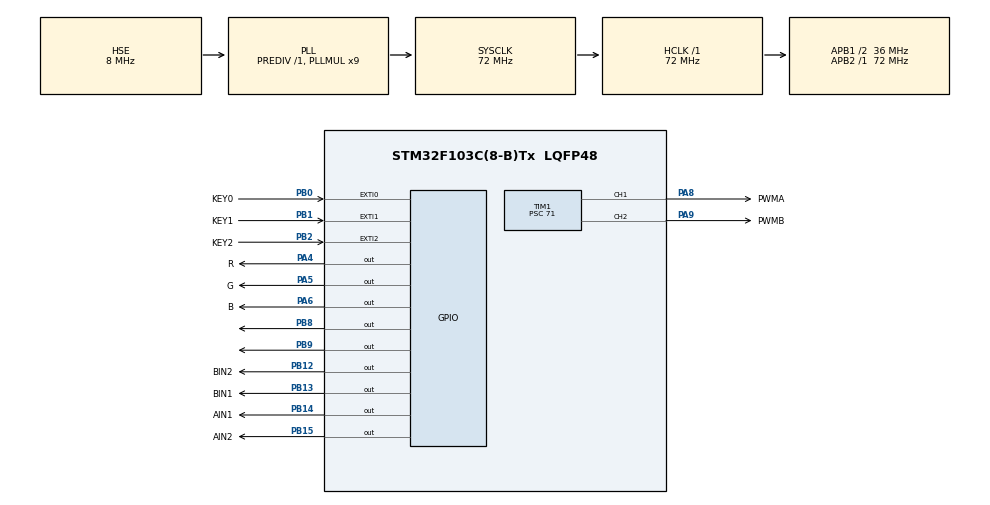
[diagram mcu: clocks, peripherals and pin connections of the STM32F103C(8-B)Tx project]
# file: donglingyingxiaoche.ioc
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FREERTOS.BinarySemaphores01=BinarySem_Start,Dynamic,NULL,Available;BinarySem_Stop,Dynamic,NULL,Available;BinarySem_EStop,Dynamic,NULL,Available
FREERTOS.Tasks01=Task_Drive,40,128,StartTaskDrive,Default,NULL,Dynamic,NULL,NULL;Task_Display,24,256,StartTaskDisplay,Default,NULL,Dynamic,NULL,NULL;Task_Logic,32,128,StartTaskLogic,Default,NULL,Dynamic,NULL,NULL;Task_Dog,8,128,StartTaskDog,Default,NULL,Dynamic,NULL,NULL
FREERTOS.configTOTAL_HEAP_SIZE=8000
IWDG.Prescaler=IWDG_PRESCALER_64
IWDG.Reload=2500
Mcu.Family=STM32F1
Mcu.Name=STM32F103C(8-B)Tx
Mcu.Package=LQFP48
NVIC.EXTI0_IRQn=true\:6\:0\:true\:false\:true\:true\:true\:true\:true
NVIC.EXTI1_IRQn=true\:7\:0\:true\:false\:true\:true\:true\:true\:true
NVIC.EXTI2_IRQn=true\:8\:0\:true\:false\:true\:true\:true\:true\:true
NVIC.PriorityGroup=NVIC_PRIORITYGROUP_4
NVIC.TIM2_IRQn=true\:15\:0\:false\:false\:true\:false\:false\:true\:true
NVIC.TimeBase=TIM2_IRQn
NVIC.TimeBaseIP=TIM2
PA13.Mode=Serial_Wire
PA13.Signal=SYS_JTMS-SWDIO
PA14.Mode=Serial_Wire
PA14.Signal=SYS_JTCK-SWCLK
PA4.GPIO_Label=R
PA4.PinState=GPIO_PIN_SET
PA4.Signal=GPIO_Output
PA5.GPIO_Label=G
PA5.PinState=GPIO_PIN_SET
PA5.Signal=GPIO_Output
PA6.GPIO_Label=B
PA6.PinState=GPIO_PIN_SET
PA6.Signal=GPIO_Output
PA8.GPIO_Label=PWMA
PA8.Signal=S_TIM1_CH1
PA9.GPIO_Label=PWMB
PA9.Signal=S_TIM1_CH2
PB0.GPIO_Label=KEY0
PB0.GPIO_ModeDefaultEXTI=GPIO_MODE_IT_FALLING
PB0.GPIO_PuPd=GPIO_PULLUP
PB0.Signal=GPXTI0
PB1.GPIO_Label=KEY1
PB1.GPIO_ModeDefaultEXTI=GPIO_MODE_IT_FALLING
PB1.GPIO_PuPd=GPIO_PULLUP
PB1.Signal=GPXTI1
PB12.GPIO_Label=BIN2
PB12.Signal=GPIO_Output
PB13.GPIO_Label=BIN1
PB13.Signal=GPIO_Output
PB14.GPIO_Label=AIN1
PB14.Signal=GPIO_Output
PB15.GPIO_Label=AIN2
PB15.Signal=GPIO_Output
PB2.GPIO_Label=KEY2
PB2.GPIO_ModeDefaultEXTI=GPIO_MODE_IT_FALLING
PB2.GPIO_PuPd=GPIO_PULLUP
PB2.Signal=GPXTI2
PB8.Signal=GPIO_Output
PB9.Signal=GPIO_Output
PD0-OSC_IN.Mode=HSE-External-Oscillator
PD0-OSC_IN.Signal=RCC_OSC_IN
PD1-OSC_OUT.Mode=HSE-External-Oscillator
PD1-OSC_OUT.Signal=RCC_OSC_OUT
ProjectManager.HeapSize=0x200
ProjectManager.StackSize=0x400
ProjectManager.TargetToolchain=STM32CubeIDE
RCC.AHBFreq_Value=72000000
RCC.APB1CLKDivider=RCC_HCLK_DIV2
RCC.APB1Freq_Value=36000000
RCC.APB1TimFreq_Value=72000000
RCC.APB2Freq_Value=72000000
RCC.APB2TimFreq_Value=72000000
RCC.HCLKFreq_Value=72000000
RCC.PLLMUL=RCC_PLL_MUL9
RCC.PLLSourceVirtual=RCC_PLLSOURCE_HSE
RCC.SYSCLKFreq_VALUE=72000000
RCC.SYSCLKSource=RCC_SYSCLKSOURCE_PLLCLK
RCC.USBFreq_Value=72000000
SH.S_TIM1_CH1.0=TIM1_CH1,PWM Generation1 CH1
SH.S_TIM1_CH2.0=TIM1_CH2,PWM Generation2 CH2
TIM1.Channel-PWM\ Generation1\ CH1=TIM_CHANNEL_1
TIM1.Channel-PWM\ Generation2\ CH2=TIM_CHANNEL_2
TIM1.Period=999
TIM1.Prescaler=71
TIM4.Prescaler=71
VP_FREERTOS_VS_CMSIS_V2.Mode=CMSIS_V2
VP_IWDG_VS_IWDG.Mode=IWDG_Activate
VP_SYS_VS_tim2.Mode=TIM2
VP_TIM4_VS_ClockSourceINT.Mode=Internal
board=custom

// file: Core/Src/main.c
/* USER CODE BEGIN Header */
/**
  ******************************************************************************
  * @file           : main.c
  * @brief          : Main program body
  ******************************************************************************
  * @attention
  *
  * Copyright (c) 2026 STMicroelectronics.
  * All rights reserved.
  *
  * This software is licensed under terms that can be found in the LICENSE file
  * in the root directory of this software component.
  * If no LICENSE file comes with this software, it is provided AS-IS.
  *
  ******************************************************************************
  */
/* USER CODE END Header */
#include "main.h"
#include "cmsis_os.h"
#include "iwdg.h"
#include "tim.h"
#include "gpio.h"

/* USER CODE BEGIN PV */
extern osSemaphoreId_t BinarySem_StartHandle;
extern osSemaphoreId_t BinarySem_StopHandle;
extern osSemaphoreId_t BinarySem_EStopHandle;
/* USER CODE END PV */

void SystemClock_Config(void);
void MX_FREERTOS_Init(void);

int main(void)
{

  /* MCU Configuration--------------------------------------------------------*/

  /* Reset of all peripherals, Initializes the Flash interface and the Systick. */
  HAL_Init();

  /* Configure the system clock */
  SystemClock_Config();

  /* Initialize all configured peripherals */
  MX_GPIO_Init();
  MX_IWDG_Init();
  MX_TIM1_Init();
  MX_TIM4_Init();

  /* Init scheduler */
  osKernelInitialize();  /* Call init function for freertos objects (in cmsis_os2.c) */
  MX_FREERTOS_Init();

  /* Start scheduler */
  osKernelStart();

  /* We should never get here as control is now taken by the scheduler */

  /* Infinite loop */
  while (1)
  {

  }
}

void SystemClock_Config(void)
{
  RCC_OscInitTypeDef RCC_OscInitStruct = {0};
  RCC_ClkInitTypeDef RCC_ClkInitStruct = {0};

  /** Initializes the RCC Oscillators according to the specified parameters
  * in the RCC_OscInitTypeDef structure.
  */
  RCC_OscInitStruct.OscillatorType = RCC_OSCILLATORTYPE_LSI|RCC_OSCILLATORTYPE_HSE;
  RCC_OscInitStruct.HSEState = RCC_HSE_ON;
  RCC_OscInitStruct.HSEPredivValue = RCC_HSE_PREDIV_DIV1;
  RCC_OscInitStruct.HSIState = RCC_HSI_ON;
  RCC_OscInitStruct.LSIState = RCC_LSI_ON;
  RCC_OscInitStruct.PLL.PLLState = RCC_PLL_ON;
  RCC_OscInitStruct.PLL.PLLSource = RCC_PLLSOURCE_HSE;
  RCC_OscInitStruct.PLL.PLLMUL = RCC_PLL_MUL9;
  if (HAL_RCC_OscConfig(&RCC_OscInitStruct) != HAL_OK)
  {
    Error_Handler();
  }

  /** Initializes the CPU, AHB and APB buses clocks
  */
  RCC_ClkInitStruct.ClockType = RCC_CLOCKTYPE_HCLK|RCC_CLOCKTYPE_SYSCLK
                              |RCC_CLOCKTYPE_PCLK1|RCC_CLOCKTYPE_PCLK2;
  RCC_ClkInitStruct.SYSCLKSource = RCC_SYSCLKSOURCE_PLLCLK;
  RCC_ClkInitStruct.AHBCLKDivider = RCC_SYSCLK_DIV1;
  RCC_ClkInitStruct.APB1CLKDivider = RCC_HCLK_DIV2;
  RCC_ClkInitStruct.APB2CLKDivider = RCC_HCLK_DIV1;

  if (HAL_RCC_ClockConfig(&RCC_ClkInitStruct, FLASH_LATENCY_2) != HAL_OK)
  {
    Error_Handler();
  }
}

/* USER CODE BEGIN 4 */
void HAL_GPIO_EXTI_Callback(uint16_t GPIO_Pin)
{
    if (GPIO_Pin == KEY0_Pin)
    {
        osSemaphoreRelease(BinarySem_StartHandle);
    }
    else if (GPIO_Pin == KEY1_Pin)
    {
        osSemaphoreRelease(BinarySem_StopHandle);
    }
    else if (GPIO_Pin == KEY2_Pin)
    {
        osSemaphoreRelease(BinarySem_EStopHandle);
    }
}
/* USER CODE END 4 */

void HAL_TIM_PeriodElapsedCallback(TIM_HandleTypeDef *htim)
{
  if (htim->Instance == TIM2)
  {
    HAL_IncTick();
  }
}

void Error_Handler(void)
{
  __disable_irq();
  while (1)
  {
  }
}

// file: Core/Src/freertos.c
/* USER CODE BEGIN Header */
/**
  ******************************************************************************
  * File Name          : freertos.c
  * Description        : Code for freertos applications
  ******************************************************************************
  * @attention
  *
  * Copyright (c) 2026 STMicroelectronics.
  * All rights reserved.
  *
  * This software is licensed under terms that can be found in the LICENSE file
  * in the root directory of this software component.
  * If no LICENSE file comes with this software, it is provided AS-IS.
  *
  ******************************************************************************
  */
/* USER CODE END Header */

#include "FreeRTOS.h"
#include "task.h"
#include "main.h"
#include "cmsis_os.h"

/* USER CODE BEGIN Includes */
#include"oled.h"
#include"led.h"
#include"oledfont.h"
#include"main.h"
#include"gpio.h"
#include"motor.h"
#include"iwdg.h"
/* USER CODE END Includes */

/* USER CODE BEGIN Variables */
typedef enum {
    STATE_IDLE = 0, // 待机/停止
    STATE_RUN,      // 运行
    STATE_ESTOP     // 急停锁死
} CarState_t;
volatile CarState_t g_CarState = STATE_IDLE;
/* USER CODE END Variables */
/* Definitions for Task_Drive */
osThreadId_t Task_DriveHandle;
const osThreadAttr_t Task_Drive_attributes = {
  .name = "Task_Drive",
  .stack_size = 128 * 4,
  .priority = (osPriority_t) osPriorityHigh,
};
/* Definitions for Task_Display */
osThreadId_t Task_DisplayHandle;
const osThreadAttr_t Task_Display_attributes = {
  .name = "Task_Display",
  .stack_size = 256 * 4,
  .priority = (osPriority_t) osPriorityNormal,
};
/* Definitions for Task_Logic */
osThreadId_t Task_LogicHandle;
const osThreadAttr_t Task_Logic_attributes = {
  .name = "Task_Logic",
  .stack_size = 128 * 4,
  .priority = (osPriority_t) osPriorityAboveNormal,
};
/* Definitions for Task_Dog */
osThreadId_t Task_DogHandle;
const osThreadAttr_t Task_Dog_attributes = {
  .name = "Task_Dog",
  .stack_size = 128 * 4,
  .priority = (osPriority_t) osPriorityLow,
};
/* Definitions for BinarySem_Start */
osSemaphoreId_t BinarySem_StartHandle;
const osSemaphoreAttr_t BinarySem_Start_attributes = {
  .name = "BinarySem_Start"
};
/* Definitions for BinarySem_Stop */
osSemaphoreId_t BinarySem_StopHandle;
const osSemaphoreAttr_t BinarySem_Stop_attributes = {
  .name = "BinarySem_Stop"
};
/* Definitions for BinarySem_EStop */
osSemaphoreId_t BinarySem_EStopHandle;
const osSemaphoreAttr_t BinarySem_EStop_attributes = {
  .name = "BinarySem_EStop"
};

void StartTaskDrive(void *argument);
void StartTaskDisplay(void *argument);
void StartTaskLogic(void *argument);
void StartTaskDog(void *argument);

void MX_FREERTOS_Init(void); /* (MISRA C 2004 rule 8.1) */

void MX_FREERTOS_Init(void) {

  /* Create the semaphores(s) */
  /* creation of BinarySem_Start */
  BinarySem_StartHandle = osSemaphoreNew(1, 1, &BinarySem_Start_attributes);

  /* creation of BinarySem_Stop */
  BinarySem_StopHandle = osSemaphoreNew(1, 1, &BinarySem_Stop_attributes);

  /* creation of BinarySem_EStop */
  BinarySem_EStopHandle = osSemaphoreNew(1, 1, &BinarySem_EStop_attributes);

  /* Create the thread(s) */
  /* creation of Task_Drive */
  Task_DriveHandle = osThreadNew(StartTaskDrive, NULL, &Task_Drive_attributes);

  /* creation of Task_Display */
  Task_DisplayHandle = osThreadNew(StartTaskDisplay, NULL, &Task_Display_attributes);

  /* creation of Task_Logic */
  Task_LogicHandle = osThreadNew(StartTaskLogic, NULL, &Task_Logic_attributes);

  /* creation of Task_Dog */
  Task_DogHandle = osThreadNew(StartTaskDog, NULL, &Task_Dog_attributes);

}

void StartTaskDrive(void *argument)
{
  /* USER CODE BEGIN StartTaskDrive */
	Motor_Init();
  /* Infinite loop */
  for(;;)
  {
	  switch (g_CarState)
	      {
	          case STATE_RUN:
	              // 全速前进最大速度 (1000, 1000)
	              // 这是我留下的微调左右轮速度的地方，如果跑偏可以调整,比如 (1000, 950)
	              Motor_SetSpeed(1000 , 1000);
	              break;

	          case STATE_IDLE:
	              Motor_Stop();
	              break;

	          case STATE_ESTOP:
	              Motor_Stop();
	              break;

	          default:
	              Motor_Stop();
	              break;
	      }

	      osDelay(10);
  }
  /* USER CODE END StartTaskDrive */
}

void StartTaskDisplay(void *argument)
{
  /* USER CODE BEGIN StartTaskDisplay */
	OLED_Init();
	OLED_Clear();

	  // 这里我设置的静态显示队名
	OLED_ShowString(0 , 0 , (uint8_t*)"[ TEAM 06 ]");
  /* Infinite loop */
	  for(;;)
	  {
		  // 这里我设置的根据状态显示不同内容和灯光
		      if (g_CarState == STATE_RUN)
		      {
		          OLED_ShowString(0 , 3 , (uint8_t*)"Status: RUN   ");
		          // 跑的时候绿灯
		          LED_Set(LED_GREEN);
		      }
		      else if (g_CarState == STATE_IDLE)
		      {
		          OLED_ShowString(0 , 3 , (uint8_t*)"Status: STOP  ");
		          // 停的时候红灯
		          LED_Set(LED_RED);
		      }

		      // 这里可以额外添加心跳闪烁 (利用空余的 RGB 组合颜色，比如黄色闪烁),我懒得弄了
		      // 为了不覆盖状态灯，也可以不做闪烁，或者只在STOP时我额外添加一个呼吸灯也行

		      osDelay(200);
	  }
  /* USER CODE END StartTaskDisplay */
}

void StartTaskLogic(void *argument)
{
  /* USER CODE BEGIN StartTaskLogic */
  /* Infinite loop */
  for(;;)
  {
	  if (osSemaphoreAcquire(BinarySem_EStopHandle , 0) == osOK)
	      {
	          g_CarState = STATE_ESTOP;

	          Motor_Stop();
	          LED_Set(LED_BLUE); // 蓝灯警示
	          OLED_Clear();
	          OLED_ShowString(0 , 0 , (uint8_t*)"E-STOP");
	          OLED_ShowString(0 , 2 , (uint8_t*)"PRESS RESET");

	          while(1)
	          {
	              HAL_GPIO_TogglePin(B_GPIO_Port , B_Pin); // 蓝灯闪
	              HAL_IWDG_Refresh(&hiwdg);
	              HAL_Delay(100);
	          }
	      }

	      // 检查停止
	      if (osSemaphoreAcquire(BinarySem_StopHandle , 0) == osOK)
	      {
	          g_CarState = STATE_IDLE;
	      }

	      // 检查启动
	      if (osSemaphoreAcquire(BinarySem_StartHandle , 0) == osOK)
	      {
	          if (g_CarState != STATE_ESTOP)
	          {
	              g_CarState = STATE_RUN;
	          }
	      }

	      osDelay(20);
  }
  /* USER CODE END StartTaskLogic */
}

void StartTaskDog(void *argument)
{
  /* USER CODE BEGIN StartTaskDog */
  /* Infinite loop */
  for(;;)
  {
	  HAL_IWDG_Refresh(&hiwdg);
	  osDelay(1000); // 这里我设置的1s喂一次,我mx里配置的是最大4s不喂狗就重启,所以时间还是很充裕的,但是会导致报错不及时,所以等17号实战的时候我需要调低!
  }
  /* USER CODE END StartTaskDog */
}
